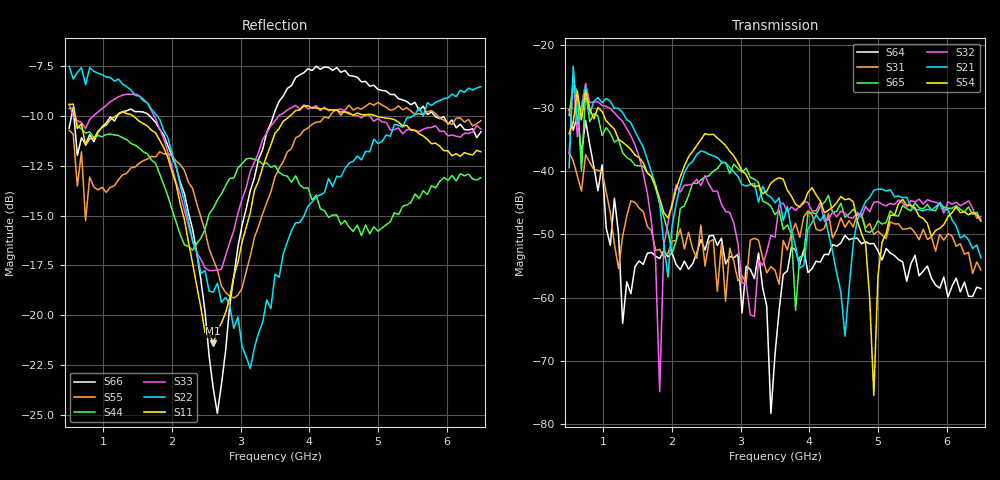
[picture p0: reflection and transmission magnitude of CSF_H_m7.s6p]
!Keysight Technologies,M9804A,MY58100912,A.14.10.03
!Date: Thursday, April 27, 2023 10:28:33
!Correction: S11(C  6-Port  )
!S12(C  6-Port  )
!S13(C  6-Port  )
!S14(C  6-Port  )
!S15(C  6-Port  )
!S16(C  6-Port  )
!S21(C  6-Port  )
!S22(C  6-Port  )
!S23(C  6-Port  )
!S24(C  6-Port  )
!S25(C  6-Port  )
!S26(C  6-Port  )
!S31(C  6-Port  )
!S32(C  6-Port  )
!S33(C  6-Port  )
!S34(C  6-Port  )
!S35(C  6-Port  )
!S36(C  6-Port  )
!S41(C  6-Port  )
!S42(C  6-Port  )
!S43(C  6-Port  )
!S44(C  6-Port  )
!S45(C  6-Port  )
!S46(C  6-Port  )
!S51(C  6-Port  )
!S52(C  6-Port  )
!S53(C  6-Port  )
!S54(C  6-Port  )
!S55(C  6-Port  )
!S56(C  6-Port  )
!S61(C  6-Port  )
!S62(C  6-Port  )
!S63(C  6-Port  )
!S64(C  6-Port  )
!S65(C  6-Port  )
!S66(C  6-Port  )
!S6P File: Measurement: :
# Hz S  RI  R 50
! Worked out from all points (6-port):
!   101 points, 500 MHz to 6.5 GHz, reference 50 ohm
!   strongest paths, dB at 500 MHz, 2 GHz, 3.5 GHz, 5 GHz, 6.5 GHz:
!     S54: -34.1, -45.5, -41.4, -56.6, -47.9
!     S21: -39.5, -48.7, -45.0, -42.8, -53.7
!     S32: -37.3, -45.0, -50.4, -44.8, -47.1
!     S65: -31.2, -53.0, -46.9, -47.8, -47.7
!     S31: -37.1, -51.1, -55.6, -49.5, -55.6
!     S64: -30.3, -52.9, -69.0, -52.6, -58.5
!   lowest |S11| = -21.4 dB at 2.6 GHz (marker M1), VSWR 1.19, Z = 42.5 + j2.18 ohm
!   |S11| at or under -10 dB: 589.7 MHz to 1.175 GHz (585.1 MHz wide, 66.3 % of centre); 1.434 GHz to 3.714 GHz (2.279 GHz wide, 88.6 % of centre); 4.977 GHz to end of sweep
